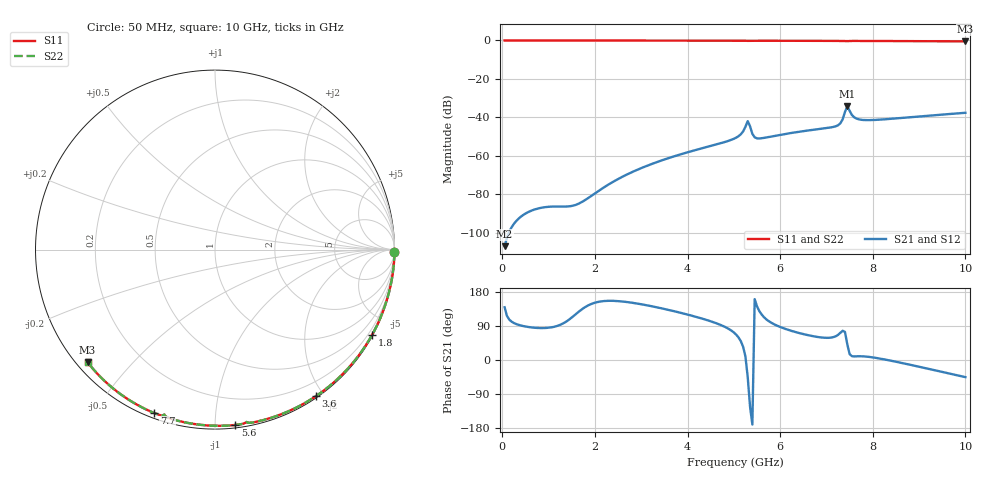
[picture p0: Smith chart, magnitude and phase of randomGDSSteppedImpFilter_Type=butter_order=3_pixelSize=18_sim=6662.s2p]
! freq	dB(S11)	phase(S11)	dB(S12)	phase(S12)
!  dB(S21)	phase(S21)	dB(S22)	phase(S22)
!S-par simulation data
#  GHz  S  DB  R 50
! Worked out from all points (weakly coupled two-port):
!   200 points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, 50 MHz to 10 GHz, reference 50 ohm
!   highest |S21| = -34.19 dB at 7.45 GHz (marker M1); lowest = -106.9 dB at 50 MHz (marker M2)
!   lowest |S11| = -0.5 dB at 10 GHz (marker M3), VSWR 37.11, Z = 1.54 - j18.9 ohm
!   |S11| at or under -10 dB: nowhere
!   |S22| runs from -0.5 to 0.0 dB; largest |S21 - S12| = 0
!   S11 on the Smith chart (normalised r, x): 50 MHz: open; 1.8 GHz: 0.03, -3.95; 3.6 GHz: 0.02, -1.90; 5.6 GHz: 0.02, -1.12; 7.7 GHz: 0.02, -0.70; 10 GHz: 0.03, -0.38
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0.05  -0.00 -0.8  -106.90 139.1  -106.90 139.1  -0.00 -0.8
1.75  -0.04 -27.7  -83.51 136.5  -83.51 136.5  -0.04 -27.7
1.8  -0.04 -28.4  -82.75 140.4  -82.75 140.4  -0.04 -28.4
2  -0.04 -31.5  -79.48 151.2  -79.48 151.2  -0.04 -31.5
2.65  -0.05 -41.4  -70.15 153.6  -70.15 153.6  -0.05 -41.4
3.4  -0.07 -52.6  -62.68 137.4  -62.68 137.4  -0.07 -52.6
3.6  -0.07 -55.5  -61.06 131.9  -61.06 131.9  -0.07 -55.5
5.05  -0.12 -76.1  -50.51 66.9  -50.51 66.9  -0.12 -76.1
5.2  -0.13 -78.3  -47.28 35.0  -47.28 35.0  -0.13 -78.3
5.3  -0.21 -79.7  -41.92 -45.7  -41.92 -45.7  -0.21 -79.7
5.35  -0.19 -79.9  -44.58 -123.4  -44.58 -123.4  -0.19 -79.9
5.4  -0.16 -80.6  -48.55 -170.4  -48.55 -170.4  -0.16 -80.6
5.45  -0.15 -81.3  -50.32 160.6  -50.32 160.6  -0.15 -81.3
5.6  -0.14 -83.4  -50.82 120.2  -50.82 120.2  -0.14 -83.4
6.7  -0.19 -97.9  -46.46 63.0  -46.46 63.0  -0.19 -97.9
7.25  -0.24 -105.1  -44.07 66.2  -44.07 66.2  -0.24 -105.1
7.35  -0.27 -106.4  -41.00 77.2  -41.00 77.2  -0.27 -106.4
7.45  -0.34 -107.1  -34.19 41.3  -34.19 41.3  -0.34 -107.1
7.55  -0.25 -108.3  -38.74 10.1  -38.74 10.1  -0.25 -108.3
7.7  -0.25 -110.4  -41.00 9.9  -41.00 9.9  -0.25 -110.4
8.35  -0.30 -118.5  -40.81 -0.8  -40.81 -0.8  -0.30 -118.5
10  -0.47 -138.5  -37.59 -45.2  -37.59 -45.2  -0.47 -138.5
